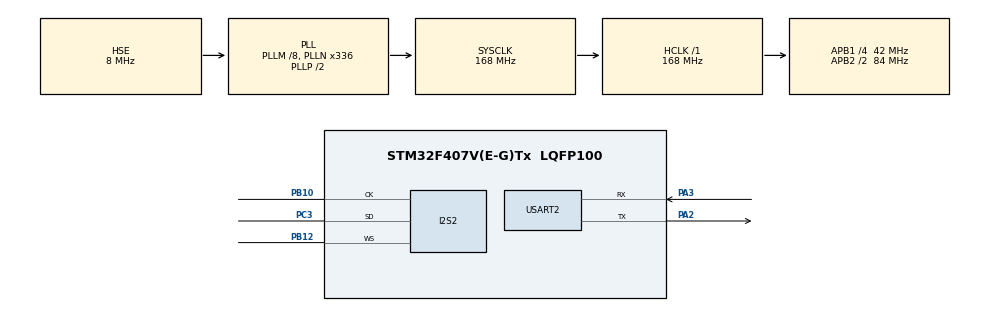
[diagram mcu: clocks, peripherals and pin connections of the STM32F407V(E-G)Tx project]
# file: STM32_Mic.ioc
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Dma.Request0=SPI2_RX
Dma.SPI2_RX.0.Direction=DMA_PERIPH_TO_MEMORY
Dma.SPI2_RX.0.FIFOMode=DMA_FIFOMODE_ENABLE
Dma.SPI2_RX.0.FIFOThreshold=DMA_FIFO_THRESHOLD_FULL
Dma.SPI2_RX.0.Instance=DMA1_Stream3
Dma.SPI2_RX.0.MemBurst=DMA_MBURST_SINGLE
Dma.SPI2_RX.0.MemDataAlignment=DMA_MDATAALIGN_HALFWORD
Dma.SPI2_RX.0.MemInc=DMA_MINC_ENABLE
Dma.SPI2_RX.0.Mode=DMA_CIRCULAR
Dma.SPI2_RX.0.PeriphBurst=DMA_PBURST_SINGLE
Dma.SPI2_RX.0.PeriphDataAlignment=DMA_PDATAALIGN_HALFWORD
Dma.SPI2_RX.0.PeriphInc=DMA_PINC_DISABLE
Dma.SPI2_RX.0.Priority=DMA_PRIORITY_LOW
I2S2.AudioFreq=I2S_AUDIOFREQ_44K
I2S2.ErrorAudioFreq=0.26 %
I2S2.FullDuplexMode=I2S_FULLDUPLEXMODE_DISABLE
I2S2.Instance=SPI$Index
I2S2.Mode=I2S_MODE_MASTER_RX
I2S2.RealAudioFreq=44.117 KHz
I2S2.VirtualMode=I2S_MODE_MASTER
Mcu.Family=STM32F4
Mcu.Name=STM32F407V(E-G)Tx
Mcu.Package=LQFP100
NVIC.DMA1_Stream3_IRQn=true\:0\:0\:false\:false\:true\:false\:true\:true
NVIC.PriorityGroup=NVIC_PRIORITYGROUP_0
NVIC.SPI2_IRQn=true\:0\:0\:false\:false\:true\:true\:true\:true
NVIC.USART2_IRQn=true\:0\:0\:false\:false\:true\:true\:true\:true
PA2.Mode=Asynchronous
PA2.Signal=USART2_TX
PA3.Mode=Asynchronous
PA3.Signal=USART2_RX
PB10.GPIO_Speed=GPIO_SPEED_FREQ_VERY_HIGH
PB10.Mode=Half_Duplex_Master
PB10.Signal=I2S2_CK
PB12.GPIO_Speed=GPIO_SPEED_FREQ_VERY_HIGH
PB12.Mode=Half_Duplex_Master
PB12.Signal=I2S2_WS
PC14-OSC32_IN.Mode=LSE-External-Oscillator
PC14-OSC32_IN.Signal=RCC_OSC32_IN
PC15-OSC32_OUT.Mode=LSE-External-Oscillator
PC15-OSC32_OUT.Signal=RCC_OSC32_OUT
PC3.GPIO_Speed=GPIO_SPEED_FREQ_VERY_HIGH
PC3.Mode=Half_Duplex_Master
PC3.Signal=I2S2_SD
PH0-OSC_IN.Mode=HSE-External-Oscillator
PH0-OSC_IN.Signal=RCC_OSC_IN
PH1-OSC_OUT.Mode=HSE-External-Oscillator
PH1-OSC_OUT.Signal=RCC_OSC_OUT
ProjectManager.HeapSize=0x1000
ProjectManager.StackSize=0x2000
ProjectManager.TargetToolchain=STM32CubeIDE
RCC.48MHZClocksFreq_Value=48000000
RCC.AHBFreq_Value=168000000
RCC.APB1CLKDivider=RCC_HCLK_DIV4
RCC.APB1Freq_Value=42000000
RCC.APB1TimFreq_Value=84000000
RCC.APB2CLKDivider=RCC_HCLK_DIV2
RCC.APB2Freq_Value=84000000
RCC.APB2TimFreq_Value=168000000
RCC.CortexFreq_Value=168000000
RCC.HCLKFreq_Value=168000000
RCC.HSE_VALUE=8000000
RCC.HSI_VALUE=16000000
RCC.PLLM=8
RCC.PLLN=336
RCC.PLLQ=7
RCC.PLLSourceVirtual=RCC_PLLSOURCE_HSE
RCC.SYSCLKFreq_VALUE=168000000
RCC.SYSCLKSource=RCC_SYSCLKSOURCE_PLLCLK
RCC.VCOOutputFreq_Value=336000000
USART2.VirtualMode=VM_ASYNC
board=STM32F407G-DISC1

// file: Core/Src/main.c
/* USER CODE BEGIN Header */
/**
  ******************************************************************************
  * @file           : main.c
  * @brief          : Main program body
  ******************************************************************************
  * @attention
  *
  * Copyright (c) 2022 STMicroelectronics.
  * All rights reserved.
  *
  * This software is licensed under terms that can be found in the LICENSE file
  * in the root directory of this software component.
  * If no LICENSE file comes with this software, it is provided AS-IS.
  *
  ******************************************************************************
  */
/* USER CODE END Header */
#include "main.h"

/* USER CODE BEGIN Includes */
#include "string.h"
#include "stdlib.h"
/* USER CODE END Includes */

I2S_HandleTypeDef hi2s2;
DMA_HandleTypeDef hdma_spi2_rx;

UART_HandleTypeDef huart2;

void SystemClock_Config(void);
static void MX_GPIO_Init(void);
static void MX_DMA_Init(void);
static void MX_I2S2_Init(void);
static void MX_USART2_UART_Init(void);
/* USER CODE BEGIN PFP */
uint32_t average_filter(uint16_t * data, uint8_t size);
/* USER CODE END PFP */

/* USER CODE BEGIN 0 */
uint16_t data[50] = { 0 };
volatile uint32_t averageData;
char * dataPrint;

uint32_t result;
/* USER CODE END 0 */

int main(void)
{

  /* MCU Configuration--------------------------------------------------------*/

  /* Reset of all peripherals, Initializes the Flash interface and the Systick. */
  HAL_Init();

  /* Configure the system clock */
  SystemClock_Config();

  /* Initialize all configured peripherals */
  MX_GPIO_Init();
  MX_DMA_Init();
  MX_I2S2_Init();
  MX_USART2_UART_Init();
  /* USER CODE BEGIN 2 */
  HAL_UART_Transmit(&huart2, (uint8_t *)"I2S Data Demo..\r\n", 18, 0xFFFF);
  /* USER CODE END 2 */

  /* Infinite loop */
  /* USER CODE BEGIN WHILE */
  while (1)
  {
	  if (HAL_I2S_Receive(&hi2s2, data, sizeof(data), 0xFFFF) != HAL_OK) {
		  Error_Handler();
	  }
	  result = average_filter((uint16_t *)data, sizeof(data));
//	  int size = snprintf(dataPrint, "%u\n", result);
//	  HAL_UART_Transmit(&huart2, (uint8_t *)dataPrint, size, 0xFFFF);
	  HAL_Delay(50);
    /* USER CODE END WHILE */

  }
}

void SystemClock_Config(void)
{
  RCC_OscInitTypeDef RCC_OscInitStruct = {0};
  RCC_ClkInitTypeDef RCC_ClkInitStruct = {0};

  /** Configure the main internal regulator output voltage
  */
  __HAL_RCC_PWR_CLK_ENABLE();
  __HAL_PWR_VOLTAGESCALING_CONFIG(PWR_REGULATOR_VOLTAGE_SCALE1);

  /** Initializes the RCC Oscillators according to the specified parameters
  * in the RCC_OscInitTypeDef structure.
  */
  RCC_OscInitStruct.OscillatorType = RCC_OSCILLATORTYPE_HSE;
  RCC_OscInitStruct.HSEState = RCC_HSE_ON;
  RCC_OscInitStruct.PLL.PLLState = RCC_PLL_ON;
  RCC_OscInitStruct.PLL.PLLSource = RCC_PLLSOURCE_HSE;
  RCC_OscInitStruct.PLL.PLLM = 8;
  RCC_OscInitStruct.PLL.PLLN = 336;
  RCC_OscInitStruct.PLL.PLLP = RCC_PLLP_DIV2;
  RCC_OscInitStruct.PLL.PLLQ = 7;
  if (HAL_RCC_OscConfig(&RCC_OscInitStruct) != HAL_OK)
  {
    Error_Handler();
  }

  /** Initializes the CPU, AHB and APB buses clocks
  */
  RCC_ClkInitStruct.ClockType = RCC_CLOCKTYPE_HCLK|RCC_CLOCKTYPE_SYSCLK
                              |RCC_CLOCKTYPE_PCLK1|RCC_CLOCKTYPE_PCLK2;
  RCC_ClkInitStruct.SYSCLKSource = RCC_SYSCLKSOURCE_PLLCLK;
  RCC_ClkInitStruct.AHBCLKDivider = RCC_SYSCLK_DIV1;
  RCC_ClkInitStruct.APB1CLKDivider = RCC_HCLK_DIV4;
  RCC_ClkInitStruct.APB2CLKDivider = RCC_HCLK_DIV2;

  if (HAL_RCC_ClockConfig(&RCC_ClkInitStruct, FLASH_LATENCY_5) != HAL_OK)
  {
    Error_Handler();
  }
}

static void MX_I2S2_Init(void)
{

  hi2s2.Instance = SPI2;
  hi2s2.Init.Mode = I2S_MODE_MASTER_RX;
  hi2s2.Init.Standard = I2S_STANDARD_PHILIPS;
  hi2s2.Init.DataFormat = I2S_DATAFORMAT_16B;
  hi2s2.Init.MCLKOutput = I2S_MCLKOUTPUT_DISABLE;
  hi2s2.Init.AudioFreq = I2S_AUDIOFREQ_44K;
  hi2s2.Init.CPOL = I2S_CPOL_LOW;
  hi2s2.Init.ClockSource = I2S_CLOCK_PLL;
  hi2s2.Init.FullDuplexMode = I2S_FULLDUPLEXMODE_DISABLE;
  if (HAL_I2S_Init(&hi2s2) != HAL_OK)
  {
    Error_Handler();
  }

}

static void MX_USART2_UART_Init(void)
{

  huart2.Instance = USART2;
  huart2.Init.BaudRate = 115200;
  huart2.Init.WordLength = UART_WORDLENGTH_8B;
  huart2.Init.StopBits = UART_STOPBITS_1;
  huart2.Init.Parity = UART_PARITY_NONE;
  huart2.Init.Mode = UART_MODE_TX_RX;
  huart2.Init.HwFlowCtl = UART_HWCONTROL_NONE;
  huart2.Init.OverSampling = UART_OVERSAMPLING_16;
  if (HAL_UART_Init(&huart2) != HAL_OK)
  {
    Error_Handler();
  }

}

static void MX_DMA_Init(void)
{

  /* DMA controller clock enable */
  __HAL_RCC_DMA1_CLK_ENABLE();

  /* DMA interrupt init */
  /* DMA1_Stream3_IRQn interrupt configuration */
  HAL_NVIC_SetPriority(DMA1_Stream3_IRQn, 0, 0);
  HAL_NVIC_EnableIRQ(DMA1_Stream3_IRQn);

}

static void MX_GPIO_Init(void)
{

  /* GPIO Ports Clock Enable */
  __HAL_RCC_GPIOC_CLK_ENABLE();
  __HAL_RCC_GPIOH_CLK_ENABLE();
  __HAL_RCC_GPIOA_CLK_ENABLE();
  __HAL_RCC_GPIOB_CLK_ENABLE();

}

/* USER CODE BEGIN 4 */
uint32_t average_filter(uint16_t * data, uint8_t size) {
	averageData = 0;
	for (int i = 0; i < size; i++) {
		averageData += data[i];
	}
	return averageData/size;
}
/* USER CODE END 4 */

void Error_Handler(void)
{
  __disable_irq();
  while (1)
  {
  }
}
